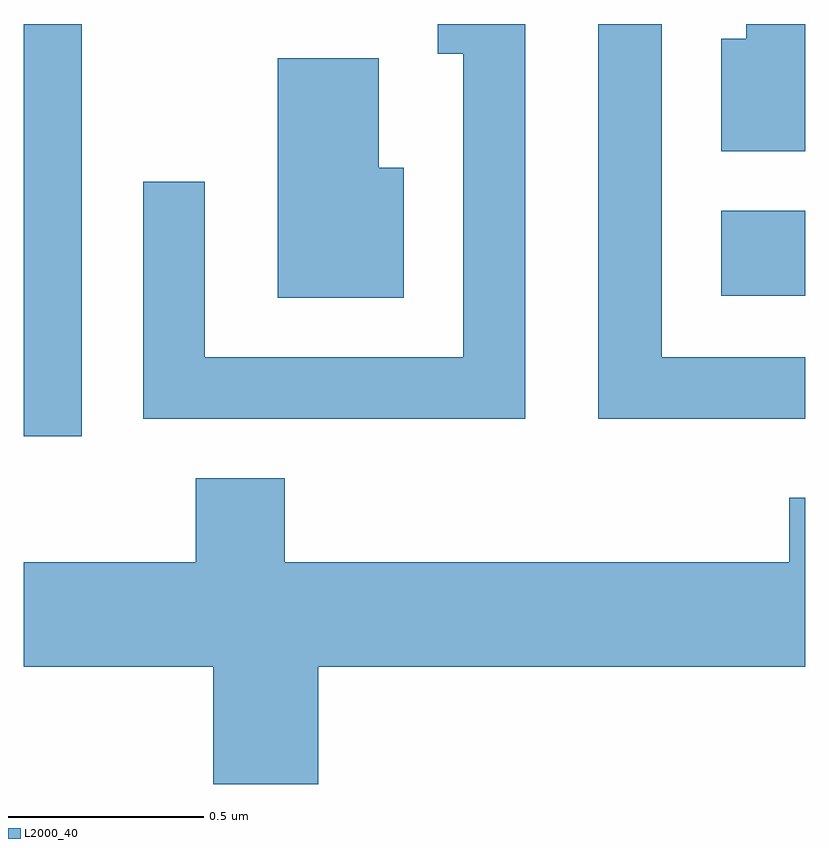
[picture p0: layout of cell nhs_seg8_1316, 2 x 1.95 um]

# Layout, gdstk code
import gdstk
lib = gdstk.Library(unit=1e-6, precision=1e-09)
def R(c, l, rs):  # rectangles x0, y0, x1, y1
    for r in rs: c.add(gdstk.rectangle(r[:2], r[2:], *l))
def P(c, l, *ps):  # polygons
    for p in ps: c.add(gdstk.Polygon(p, *l))
L2000_40 = (2000, 40)

nhs_seg8_1316 = lib.new_cell('nhs_seg8_1316')
R(nhs_seg8_1316, L2000_40, [(194.611,1890.286,194.759,1891.342), (196.396,1890.646,196.611,1890.864)])
P(nhs_seg8_1316, L2000_40, [(196.611,1890.489),(196.244,1890.489),(196.244,1891.342),(196.081,1891.342),(196.081,1890.331),(196.611,1890.331)],
  [(196.611,1891.342),(196.461,1891.342),(196.461,1891.304),(196.396,1891.304),(196.396,1891.016),(196.611,1891.016)],
  [(195.894,1891.342),(195.671,1891.342),(195.671,1891.266),(195.736,1891.266),(195.736,1890.489),(195.074,1890.489),(195.074,1890.938),(194.916,1890.938),(194.916,1890.331),(195.894,1890.331)],
  [(195.584,1890.974),(195.519,1890.974),(195.519,1891.254),(195.261,1891.254),(195.261,1890.641),(195.584,1890.641)],
  [(195.364,1889.696),(196.611,1889.696),(196.611,1890.129),(196.571,1890.129),(196.571,1889.964),(195.279,1889.964),(195.279,1890.179),(195.051,1890.179),(195.051,1889.964),(194.611,1889.964),(194.611,1889.696),(195.096,1889.696),(195.096,1889.396),(195.364,1889.396)])

lib.write_gds('nhs_seg8_1316.gds')
